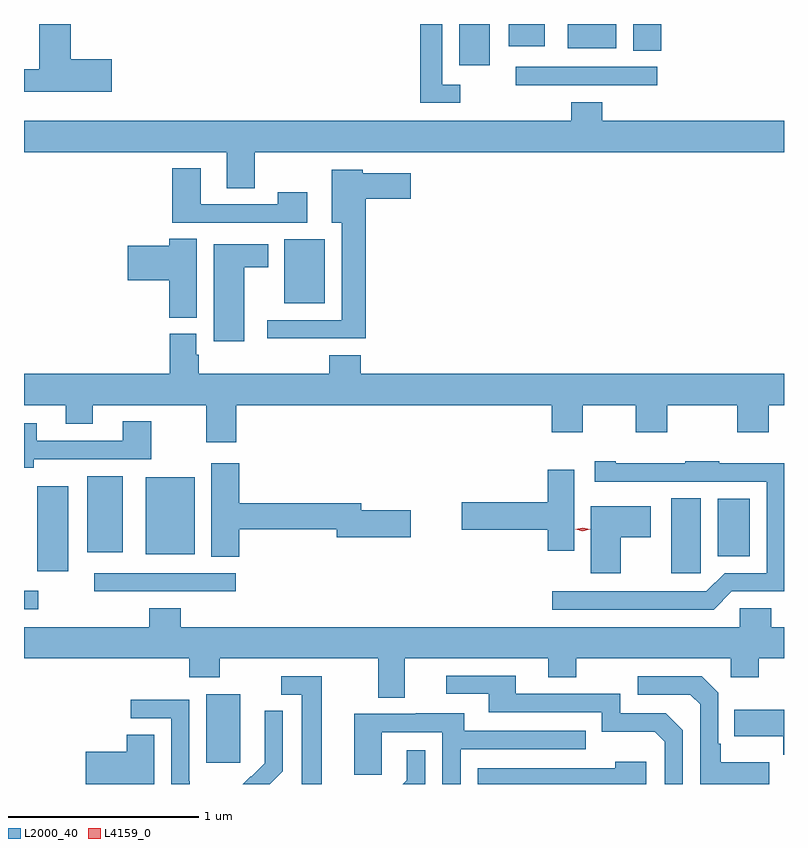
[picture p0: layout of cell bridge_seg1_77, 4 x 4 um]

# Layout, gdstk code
import gdstk
lib = gdstk.Library(unit=1e-6, precision=1e-09)
def R(c, l, rs):  # rectangles x0, y0, x1, y1
    for r in rs: c.add(gdstk.rectangle(r[:2], r[2:], *l))
def P(c, l, *ps):  # polygons
    for p in ps: c.add(gdstk.Polygon(p, *l))
L2000_40 = (2000, 40)
L4159_0 = (4159, 0)

bridge_seg1_77 = lib.new_cell('bridge_seg1_77')
R(bridge_seg1_77, L2000_40, [(530.291,531.201,530.47,531.562), (529.332,532.011,529.408,532.107), (529.701,532.104,530.446,532.2), (532.739,532.199,532.894,532.595), (529.403,532.209,529.564,532.657), (532.982,532.289,533.152,532.591), (529.973,532.298,530.23,532.705), (529.664,532.31,529.852,532.711), (530.702,533.621,530.914,533.956), (531.921,534.768,532.666,534.864), (531.623,534.873,531.784,535.09), (532.538,534.949,532.685,535.09), (532.193,534.962,532.45,535.09), (531.884,534.974,532.072,535.09)])
P(bridge_seg1_77, L2000_40, [(529.795,534.905),(529.577,534.905),(529.577,535.09),(529.412,535.09),(529.412,534.851),(529.332,534.851),(529.332,534.734),(529.795,534.734)],
  [(531.628,534.771),(531.534,534.771),(531.534,535.09),(531.418,535.09),(531.418,534.675),(531.628,534.675)],
  [(530.547,534.416),(533.332,534.416),(533.332,534.58),(532.376,534.58),(532.376,534.679),(532.211,534.679),(532.211,534.58),(529.332,534.58),(529.332,534.416),(530.399,534.416),(530.399,534.226),(530.547,534.226)],
  [(530.824,534.205),(530.668,534.205),(530.668,534.141),(530.263,534.141),(530.263,534.331),(530.111,534.331),(530.111,534.045),(530.824,534.045)],
  [(531.131,534.17),(531.367,534.17),(531.367,534.304),(531.114,534.304),(531.114,534.322),(530.951,534.322),(530.951,534.044),(531.005,534.044),(531.005,533.532),(530.613,533.532),(530.613,533.435),(531.131,533.435)],
  [(530.242,533.96),(530.096,533.96),(530.096,533.924),(529.878,533.924),(529.878,533.741),(530.096,533.741),(530.096,533.545),(530.242,533.545)],
  [(530.491,533.81),(530.617,533.81),(530.617,533.932),(530.33,533.932),(530.33,533.42),(530.491,533.42)],
  [(530.45,533.084),(532.109,533.084),(532.109,532.941),(532.273,532.941),(532.273,533.084),(532.553,533.084),(532.553,532.941),(532.717,532.941),(532.717,533.084),(533.087,533.084),(533.087,532.941),(533.251,532.941),(533.251,533.084),(533.332,533.084),(533.332,533.248),(531.104,533.248),(531.104,533.347),(530.939,533.347),(530.939,533.248),(530.252,533.248),(530.252,533.349),(530.239,533.349),(530.239,533.46),(530.099,533.46),(530.099,533.248),(529.332,533.248),(529.332,533.084),(529.553,533.084),(529.553,532.985),(529.693,532.985),(529.693,533.084),(530.29,533.084),(530.29,532.89),(530.45,532.89)],
  [(529.384,532.8),(530.001,532.8),(530.001,532.999),(529.853,532.999),(529.853,532.896),(529.399,532.896),(529.399,532.99),(529.332,532.99),(529.332,532.754),(529.384,532.754)],
  [(533.058,532.104),(533.332,532.104),(533.332,532.777),(532.991,532.777),(532.991,532.789),(532.813,532.789),(532.813,532.777),(532.447,532.777),(532.447,532.789),(532.335,532.789),(532.335,532.68),(533.241,532.68),(533.241,532.2),(533.019,532.2),(532.923,532.104),(532.113,532.104),(532.113,532.008),(532.962,532.008)],
  [(530.465,532.432),(530.978,532.432),(530.978,532.39),(531.367,532.39),(531.367,532.532),(531.106,532.532),(531.106,532.568),(530.465,532.568),(530.465,532.777),(530.318,532.777),(530.318,532.285),(530.465,532.285)],
  [(532.228,532.744),(532.088,532.744),(532.088,532.574),(531.636,532.574),(531.636,532.427),(532.088,532.427),(532.088,532.317),(532.228,532.317)],
  [(532.474,532.388),(532.63,532.388),(532.63,532.552),(532.316,532.552),(532.316,532.2),(532.474,532.2)],
  [(531.337,531.752),(532.091,531.752),(532.091,531.653),(532.239,531.653),(532.239,531.752),(533.052,531.752),(533.052,531.653),(533.199,531.653),(533.199,531.752),(533.332,531.752),(533.332,531.916),(533.264,531.916),(533.264,532.014),(533.1,532.014),(533.1,531.916),(530.156,531.916),(530.156,532.015),(529.991,532.015),(529.991,531.916),(529.332,531.916),(529.332,531.752),(530.201,531.752),(530.201,531.653),(530.361,531.653),(530.361,531.752),(531.197,531.752),(531.197,531.544),(531.337,531.544)],
  [(532.8,531.372),(532.71,531.462),(532.47,531.462),(532.47,531.564),(531.919,531.564),(531.919,531.66),(531.555,531.66),(531.555,531.564),(531.779,531.564),(531.779,531.468),(532.374,531.468),(532.374,531.365),(532.651,531.365),(532.704,531.312),(532.704,531.09),(532.8,531.09)],
  [(530.899,531.657),(530.685,531.657),(530.685,531.561),(530.795,531.561),(530.795,531.09),(530.899,531.09)],
  [(533.255,531.205),(532.999,531.205),(532.999,531.301),(532.986,531.301),(532.986,531.57),(532.899,531.657),(532.563,531.657),(532.563,531.561),(532.839,531.561),(532.89,531.51),(532.89,531.09),(533.255,531.09)],
  [(530.205,531.104),(530.202,531.104),(530.202,531.534),(529.893,531.534),(529.893,531.435),(530.106,531.435),(530.106,531.09),(530.205,531.09)],
  [(533.332,531.481),(533.071,531.481),(533.071,531.341),(533.328,531.341),(533.328,531.245),(533.332,531.245)],
  [(530.694,531.158),(530.694,531.476),(530.598,531.476),(530.598,531.322),(530.6,531.322),(530.6,531.2),(530.529,531.129),(530.526,531.132),(530.484,531.09),(530.626,531.09)],
  [(531.63,531.273),(532.289,531.273),(532.289,531.369),(531.649,531.369),(531.649,531.463),(531.395,531.463),(531.395,531.459),(531.071,531.459),(531.071,531.139),(531.216,531.139),(531.216,531.363),(531.534,531.363),(531.534,531.09),(531.63,531.09)],
  [(530.017,531.35),(529.874,531.35),(529.874,531.26),(529.656,531.26),(529.656,531.09),(530.017,531.09)],
  [(531.444,531.268),(531.347,531.268),(531.347,531.111),(531.326,531.09),(531.444,531.09)],
  [(532.606,531.208),(532.445,531.208),(532.445,531.174),(531.72,531.174),(531.72,531.09),(532.606,531.09)])
P(bridge_seg1_77, L4159_0, [(532.272,532.42),(532.232,532.43),(532.232,532.43),(532.232,532.43),(532.272,532.44),(532.312,532.43),(532.312,532.43),(532.312,532.43)])

lib.write_gds('bridge_seg1_77.gds')
